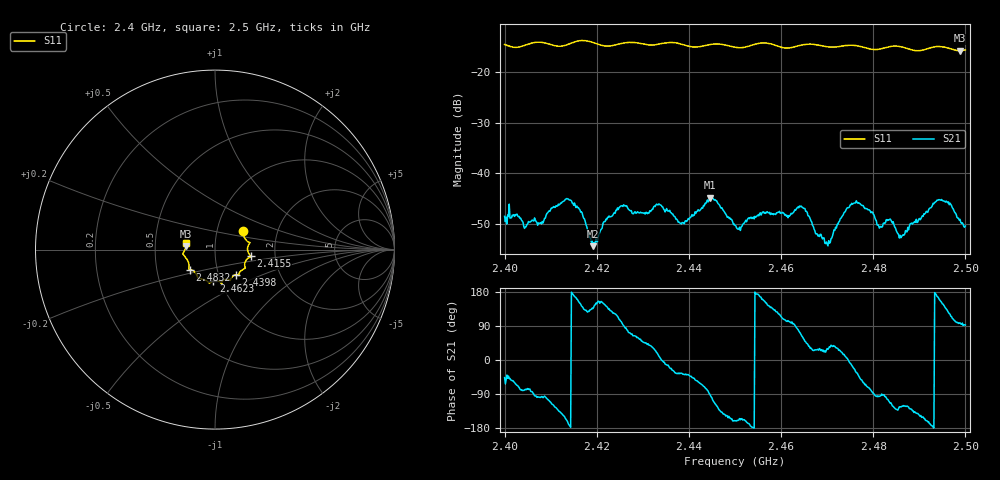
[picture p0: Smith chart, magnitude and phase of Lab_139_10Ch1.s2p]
# Hz S RI R 50
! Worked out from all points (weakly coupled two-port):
!   601 points, 2.4 GHz to 2.5 GHz, reference 50 ohm
!   highest |S21| = -44.85 dB at 2.4445 GHz (marker M1); lowest = -54.4 dB at 2.4192 GHz (marker M2)
!   lowest |S11| = -15.7 dB at 2.4988 GHz (marker M3), VSWR 1.39, Z = 36 + j1.36 ohm
!   |S11| at or under -10 dB: start of sweep to end of sweep
!   S12 and S22 are empty: the file has one direction only
!   S11 on the Smith chart (normalised r, x): 2.4 GHz: 1.33, +0.29; 2.4155 GHz: 1.49, -0.11; 2.4398 GHz: 1.21, -0.35; 2.4623 GHz: 0.92, -0.34; 2.4832 GHz: 0.74, -0.17; 2.5 GHz: 0.72, +0.06
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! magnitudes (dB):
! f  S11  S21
! 2.4 GHz  -14.5  -48.5
! 2.4077 GHz  -14.0  -49.9
! 2.4133 GHz  -14.6  -45.1
! 2.4155 GHz  -13.9  -46.8
! 2.4167 GHz  -13.7  -47.6
! 2.4192 GHz  -14.1  -54.4
! 2.4253 GHz  -14.3  -46.4
! 2.4333 GHz  -14.4  -46.2
! 2.4398 GHz  -14.8  -49.0
! 2.4445 GHz  -14.5  -44.8
! 2.45 GHz  -15.0  -50.3
! 2.4623 GHz  -15.1  -48.0
! 2.4645 GHz  -14.6  -46.7
! 2.4667 GHz  -14.4  -49.7
! 2.47 GHz  -14.9  -54.0
! 2.4758 GHz  -14.7  -45.9
! 2.4832 GHz  -15.0  -49.2
! 2.4833 GHz  -15.0  -49.3
! 2.4862 GHz  -15.0  -52.5
! 2.4943 GHz  -14.9  -45.2
! 2.4988 GHz  -15.7  -49.1
! 2.5 GHz  -15.6  -50.4
